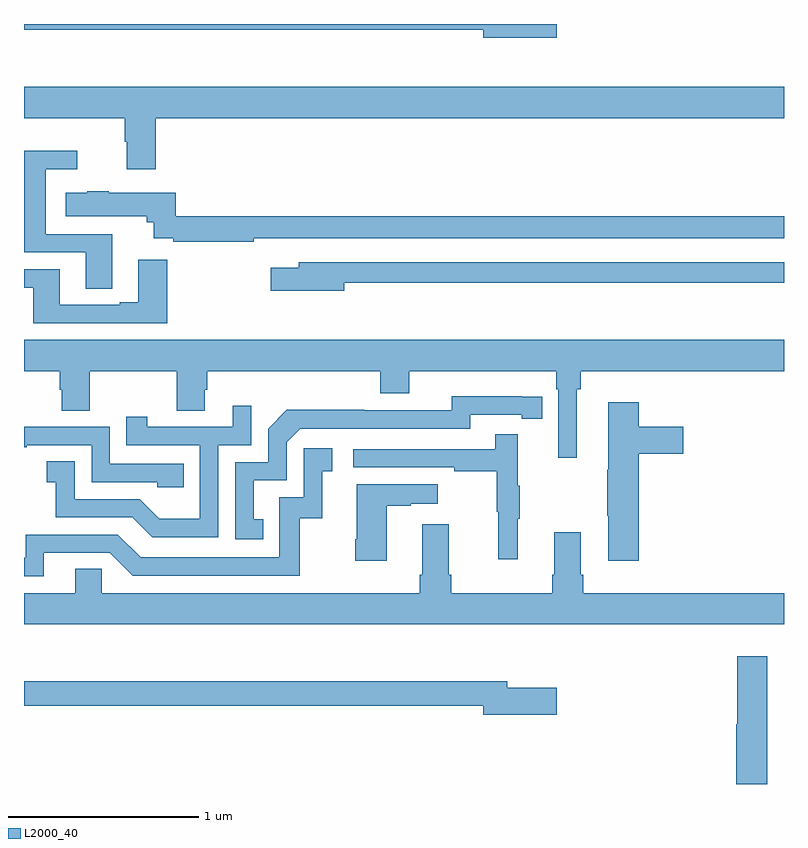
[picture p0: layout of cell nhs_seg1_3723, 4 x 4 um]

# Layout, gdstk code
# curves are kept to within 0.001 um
import gdstk
lib = gdstk.Library(unit=1e-6, precision=1e-09)
def P(c, l, *ps):  # polygons
    for p in ps: c.add(gdstk.Polygon(p, *l))
L2000_40 = (2000, 40)

nhs_seg1_3723 = lib.new_cell('nhs_seg1_3723')
P(nhs_seg1_3723, L2000_40, [(315.805,580.199),(313,580.199),(313,580.17),(315.416,580.17),(315.416,580.127),(315.805,580.127)],
  [(313.694,579.704),(317,579.704),(317,579.868),(313,579.868),(313,579.704),(313.529,579.704),(313.529,579.578),(313.541,579.578),(313.541,579.435),(313.694,579.435)],
  [(313.465,579.093),(313.114,579.093),(313.114,579.435),(313.279,579.435),(313.279,579.532),(313,579.532),(313,578.997),(313.325,578.997),(313.325,578.806),(313.465,578.806)],
  [(314.21,579.072),(317,579.072),(317,579.188),(313.799,579.188),(313.799,579.31),(313.445,579.31),(313.445,579.318),(313.333,579.318),(313.333,579.31),(313.221,579.31),(313.221,579.188),(313.646,579.188),(313.646,579.156),(313.682,579.156),(313.682,579.072),(313.786,579.072),(313.786,579.052),(314.21,579.052)],
  [(313.754,578.959),(313.601,578.959),(313.601,578.734),(313.505,578.734),(313.505,578.721),(313.189,578.721),(313.189,578.907),(313,578.907),(313,578.811),(313.049,578.811),(313.049,578.625),(313.754,578.625)],
  [(314.686,578.838),(317,578.838),(317,578.946),(314.447,578.946),(314.447,578.917),(314.298,578.917),(314.298,578.795),(314.686,578.795)],
  [(315.91,578.276),(315.929,578.276),(315.929,578.372),(317,578.372),(317,578.536),(313,578.536),(313,578.372),(313.187,578.372),(313.187,578.274),(313.199,578.274),(313.199,578.164),(313.347,578.164),(313.347,578.372),(313.804,578.372),(313.804,578.164),(313.951,578.164),(313.951,578.274),(313.964,578.274),(313.964,578.372),(314.876,578.372),(314.876,578.255),(315.028,578.255),(315.028,578.372),(315.8,578.372),(315.8,578.276),(315.813,578.276),(315.813,577.917),(315.91,577.917)],
  [(314.258,577.593),(314.209,577.593),(314.209,577.797),(314.382,577.797),(314.382,577.998),(314.454,578.07),(315.348,578.07),(315.348,578.142),(315.62,578.142),(315.62,578.122),(315.728,578.122),(315.728,578.238),(315.252,578.239),(315.252,578.166),(314.792,578.166),(314.792,578.168),(314.384,578.168),(314.286,578.07),(314.286,577.893),(314.112,577.893),(314.112,577.488),(314.258,577.488)],
  [(316.235,577.937),(316.471,577.937),(316.471,578.079),(316.235,578.079),(316.235,578.209),(316.076,578.209),(316.076,577.853),(316.069,577.853),(316.069,577.612),(316.076,577.612),(316.076,577.374),(316.235,577.374)],
  [(314.022,577.983),(314.196,577.983),(314.196,578.191),(314.099,578.191),(314.099,578.079),(313.648,578.079),(313.648,578.131),(313.537,578.131),(313.537,577.983),(313.926,577.983),(313.926,577.594),(313.712,577.594),(313.608,577.698),(313.266,577.698),(313.266,577.897),(313.119,577.897),(313.119,577.787),(313.168,577.787),(313.168,577.602),(313.571,577.602),(313.676,577.497),(314.022,577.497)],
  [(313.841,577.884),(313.452,577.884),(313.452,578.079),(313,578.079),(313,577.971),(313.015,577.971),(313.015,577.983),(313.356,577.983),(313.356,577.788),(313.701,577.788),(313.701,577.761),(313.841,577.761)],
  [(315.599,577.595),(315.61,577.595),(315.61,577.769),(315.599,577.769),(315.599,578.041),(315.481,578.041),(315.481,577.962),(314.733,577.962),(314.733,577.866),(315.265,577.866),(315.265,577.846),(315.489,577.846),(315.489,577.632),(315.496,577.632),(315.496,577.383),(315.599,577.383)],
  [(313.105,577.416),(313.452,577.416),(313.572,577.296),(314.452,577.296),(314.452,577.599),(314.57,577.599),(314.57,577.845),(314.623,577.845),(314.623,577.966),(314.472,577.966),(314.472,577.707),(314.343,577.707),(314.343,577.392),(313.614,577.392),(313.494,577.512),(313.008,577.512),(313.008,577.389),(313,577.389),(313,577.293),(313.105,577.293)],
  [(314.908,577.663),(315.035,577.663),(315.035,577.673),(315.178,577.673),(315.178,577.777),(314.75,577.777),(314.75,577.486),(314.743,577.486),(314.743,577.374),(314.908,577.374)],
  [(317,577.204),(315.944,577.204),(315.944,577.3),(315.931,577.3),(315.931,577.525),(315.791,577.525),(315.791,577.3),(315.779,577.3),(315.779,577.204),(315.248,577.204),(315.248,577.3),(315.235,577.3),(315.235,577.567),(315.095,577.567),(315.095,577.3),(315.083,577.3),(315.083,577.204),(313.41,577.204),(313.41,577.331),(313.271,577.331),(313.271,577.204),(313,577.204),(313,577.04),(317,577.04)],
  [(316.912,576.871),(316.754,576.871),(316.754,576.513),(316.748,576.513),(316.748,576.199),(316.912,576.199)],
  [(315.805,576.705),(315.544,576.705),(315.544,576.739),(313,576.739),(313,576.61),(315.416,576.61),(315.416,576.563),(315.805,576.563)])

lib.write_gds('nhs_seg1_3723.gds')
